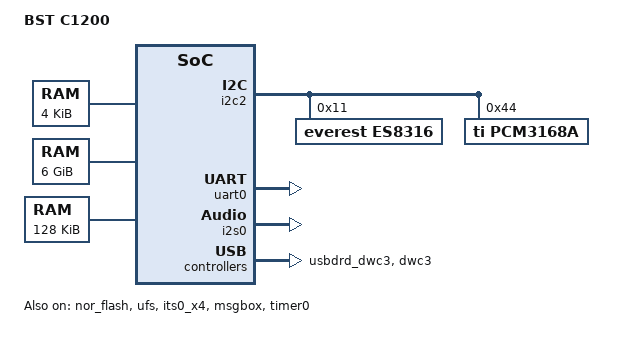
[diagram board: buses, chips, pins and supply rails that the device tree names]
// SPDX-License-Identifier: GPL-2.0+
/dts-v1/;
#include "bstc1200.dtsi"

/ {
	compatible = "bst,c1200";
	model = "BST C1200";

	chosen {
		bootargs = "earlycon=uart8250,mmio32,0x20007000 console=ttyS0,115200n8 rdinit=/sbin/init root=/dev/ram rw init=/linuxrc rodata=n";
		stdout-path = "uart0";
	};

	/* This is used to push the total usable DDR to Normal Zone
	 * DON NOT USE IT !!!
	 */
	memory@1000000 {
	device_type = "memory";
	reg = <0x0 0x1000000 0x0 0x1000>;
	};

	memory@c00000000 {
	device_type = "memory";
	reg = <0xc 0x40000000 0x1 0x80000000>;
	};

	memory@800000000 {
	device_type = "memory";
	reg = <0x8 0x00000000 0x0 0x20000>;
	};

	reserved-memory {
		#address-cells = <2>;
		#size-cells = <2>;
		ranges;

		bst_ufs_reserved: bst_ufs@800000000 {
			compatible = "shared-dma-pool";
			reg = <0x8 0x000000 0x0 0x20000>;
			no-map;
		};
		scmi_buf_reserved: scmi_buf@800152000 {
			compatible = "shared-dma-pool";
			reg = <0x8 0x152000 0x0 0x1000>;
			no-map;
		};

		reserved_for_normal_zone: reserved@1000000 {
			reg = <0x0 0x1000000 0x0 0x1000>;
			no-map;
		};


		bst_nor_flash_code_reserved: bst_nor_flash@800140000 {
			compatible = "shared-dma-pool";
			reg = <0x8 0x140000 0x0 0x10000>;
			no-map;
		};
		bst_ipc_reserved: bst_ipc@800300000 {
			compatible = "shared-dma-pool";
			reg = <0x8 0x300000 0x0 0x400000>;
			no-map;
		};
	};

/****************************************************************************************/
/*	c0_lockstep/c1_split	1 + 5: c0 0x0 + c0 0x100 \ c1 0x0 ~ 0x300
 *	c0_lockstep/c1_lockstep	1 + 3: c0 0x0 + c0 0x100 \ c1 0x0 ~ 0x100
 *	split			2 + 6: c0 0x0 ~ 0x100 + c0 0x200 ~ 0x300 \ c1 0x0 ~ 0x300
 *	split			4 + 4: c0 0x0 ~ 0x300 + c1 0x0 ~ 0x300
 */
/****************************************************************************************/
	cpus {
		#address-cells = <1>;
		#size-cells = <0>;

		cpu_l0: cpu@0 {
			compatible = "arm,cortex-a78", "arm,armv8";
			device_type = "cpu";
			enable-method = "psci";
			next-level-cache = <&l2_0>;
			reg = <0x0>;
			freq-domain = <&cpufreq 0>;

			i-cache-size = <0x10000>;
			i-cache-line-size = <64>;
			i-cache-sets = <256>;
			d-cache-size = <0x10000>;
			d-cache-line-size = <64>;
			d-cache-sets = <256>;

			l2_0: l2-cache {
				compatible = "cache";
				cache-level = <2>;
				next-level-cache = <&l3_0>;
				cache-size = <0x80000>;
				cache-line-size = <64>;
				cache-sets = <1024>;
			};
		};

		cpu_l1: cpu@1 {
			compatible = "arm,cortex-a78", "arm,armv8";
			device_type = "cpu";
			enable-method = "psci";
			next-level-cache = <&l2_1>;
			reg = <0x100>;
			freq-domain = <&cpufreq 0>;

			i-cache-size = <0x10000>;
			i-cache-line-size = <64>;
			i-cache-sets = <256>;
			d-cache-size = <0x10000>;
			d-cache-line-size = <64>;
			d-cache-sets = <256>;

			l2_1: l2-cache {
				compatible = "cache";
				cache-level = <2>;
				next-level-cache = <&l3_0>;
				cache-size = <0x80000>;
				cache-line-size = <64>;
				cache-sets = <1024>;
			};
		};

		cpu_l2: cpu@2 {
			compatible = "arm,cortex-a78", "arm,armv8";
			device_type = "cpu";
			enable-method = "psci";
			next-level-cache = <&l2_2>;
			reg = <0x200>;
			freq-domain = <&cpufreq 0>;

			i-cache-size = <0x10000>;
			i-cache-line-size = <64>;
			i-cache-sets = <256>;
			d-cache-size = <0x10000>;
			d-cache-line-size = <64>;
			d-cache-sets = <256>;

			l2_2: l2-cache {
				compatible = "cache";
				cache-level = <2>;
				next-level-cache = <&l3_0>;
				cache-size = <0x80000>;
				cache-line-size = <64>;
				cache-sets = <1024>;
			};
		};

		cpu_l3: cpu@3 {
			compatible = "arm,cortex-a78", "arm,armv8";
			device_type = "cpu";
			enable-method = "psci";
			next-level-cache = <&l2_3>;
			reg = <0x300>;
			freq-domain = <&cpufreq 0>;

			i-cache-size = <0x10000>;
			i-cache-line-size = <64>;
			i-cache-sets = <256>;
			d-cache-size = <0x10000>;
			d-cache-line-size = <64>;
			d-cache-sets = <256>;

			l2_3: l2-cache {
				compatible = "cache";
				cache-level = <2>;
				next-level-cache = <&l3_0>;
				cache-size = <0x80000>;
				cache-line-size = <64>;
				cache-sets = <1024>;
			};
		};

		l3_0: l3-cache@0 {
			compatible = "cache";
			cache-level = <3>;
			cache-size = <0x200000>;
			cache-line-size = <64>;
			cache-sets = <2048>;
		};
	};

	psci {
		compatible	= "arm,psci-1.0";
		method		= "smc";
		cpu_on		= <0xC4000003>;
		cpu_off		= <0x84000002>;
		cpu_suspend	= <0xC4000001>;
	};
};

&firmware_scmi {

	shmem = <&scmi_buf_reserved>;
	reg = <0x0 0x20011000 0 0x14>;


	status = "okay";
};
&i2c0 {
	status = "disable";
};
&i2c1 {
	status = "disable";
};
&i2c2 {
	status = "okay";
	es8316: es8316@11 {
		status = "okay";
		compatible = "everest,es8316";
		reg = <0x11>;
		#sound-dai-cells = <0>;
		es8316,analog-input-mux = <1>;
	};

	pcm3168a: pcm3168a-codec@44 {
		status = "okay";
		compatible = "ti,pcm3168a";
		reg = <0x44>;
		#sound-dai-cells = <0>;
	};
};
&i2c3 {
	status = "disable";
};
&i2c4 {
	status = "disable";
};
&i2c5 {
	status = "disable";
};
&i2c6 {
	status = "disable";
};
&i2c7 {
	status = "disable";
};
&i2cq0 {
	status = "disable";
};
&i2cq1 {
	status = "disable";
};
&i2cq2 {
	status = "disable";
};

&uart0 {
	status = "okay";
};
&uart1 {
	status = "disable";
};
&uart2 {
	status = "disable";
};
&uart3 {
	status = "disable";
};

&spi0 {
	status = "disable";
};
&spi1 {
	status = "disable";
};
&spi2 {
	status = "disable";
};
&spi3 {
	status = "disable";
};

&i2s0 {
	status = "okay";
};
&i2s1 {
	status = "disable";
};
&i2s2 {
	status = "disable";
};
&i2s3 {
	status = "disable";
};

&watchdog0 {
	status = "disable";
};
&watchdog1 {
	status = "disable";
};
&watchdog2 {
	status = "disable";
};
&watchdog3 {
	status = "disable";
};
&watchdog_soc0 {
	status = "disable";
};
&watchdog_soc1 {
	status = "disable";
};
&watchdog_soc2 {
	status = "disable";
};
&watchdog_soc3 {
	status = "disable";
};

&watchdog_soc4 {
	status = "disable";
};
&watchdog_soc5 {
	status = "disable";
};
&watchdog_soc6 {
	status = "disable";
};
&watchdog_soc7 {
	status = "disable";
};
&watchdog_db0 {
	status = "disable";
};
&watchdog_db1 {
	status = "disable";
};
&watchdog_db2 {
	status = "disable";
};
&watchdog_db3 {
	status = "disable";
};

&lsp0_pwm0 {
	status = "disable";
};
&lsp1_pwm0 {
	status = "disable";
};

&gpio0 {
	status = "disable";
};
&gpio1 {
	status = "disable";
};
&gpio2 {
	status = "disable";
};
&gpio3 {
	status = "disable";
};
&gpio4 {
	status = "disable";
};
&gpio5 {
	status = "disable";
};
&gpio6 {
	status = "disable";
};
&gpio7 {
	status = "disable";
};
&gpiokeys {
	status = "disable";
};

&gdma0 {
	status = "okay";
};

&swdma0 {
	status = "disable";
};

&mmu600_soc{
	status = "okay";
};


&usbdwc3 {
		iommus = <&mmu600_soc 1>;
};

&usbdrd_dwc3 {
	status = "okay";
};

&usbdwc2 {
		iommus = <&mmu600_soc 2>;
};
&dwc3 {
	status = "okay";
};

&mmc0 {
	status = "disable";
};
&mmc1 {
	status = "disable";
};

&nor_flash {
	memory-region = <&bst_nor_flash_code_reserved>;
	status = "okay";
};

&mmu600_codec {
	status = "disable";
};
&mmu600_soc {
	status = "disable";
};

&ufs {
	reg = <0x0 0x23005f00 0 0x100>,
		  <0x0 0x20011000 0 0x1000>;
    interrupts = <GIC_SPI 184 IRQ_TYPE_LEVEL_HIGH
					GIC_SPI 218 IRQ_TYPE_LEVEL_HIGH>; 
	ufs-timer = <0x0>;
	status = "okay";
};

&lvds_conn {
	status = "disable";
};

&pinctrl {
	status = "disable";
};

&clkc {
	status = "disable";
};

&xgmac0 {
	status = "disable";
};

&gic600 {
	status = "okay";
	};

&its0_x4 {
	status = "okay";
};

&ipc {
	status = "okay";
	memory-region = <&bst_ipc_reserved>;
};

&mbox {
	status = "okay";
	ipc-cpus = <0>;
	memory-region = <&bst_ipc_reserved>;
};


&msgbox {
	status = "okay";
	spi-irq-num = <4>;
	filter-num = <8>;
	// id = <0x0>;
	// end0 and end1 spi irq
	interrupts =    <
			GIC_PPI 2 (GIC_CPU_MASK_SIMPLE(8) | IRQ_TYPE_LEVEL_LOW)
			GIC_PPI 3 (GIC_CPU_MASK_SIMPLE(8) | IRQ_TYPE_LEVEL_LOW)
			GIC_PPI 4 (GIC_CPU_MASK_SIMPLE(8) | IRQ_TYPE_LEVEL_LOW)
			GIC_PPI 15 (GIC_CPU_MASK_SIMPLE(8) | IRQ_TYPE_LEVEL_LOW)
			GIC_SPI 544 (IRQ_TYPE_LEVEL_HIGH)
			GIC_SPI 545 (IRQ_TYPE_LEVEL_HIGH)
			GIC_SPI 546 (IRQ_TYPE_LEVEL_HIGH)
			GIC_SPI 547 (IRQ_TYPE_LEVEL_HIGH)
			GIC_SPI 548 (IRQ_TYPE_LEVEL_HIGH)
			GIC_SPI 549 (IRQ_TYPE_LEVEL_HIGH)
			GIC_SPI 550 (IRQ_TYPE_LEVEL_HIGH)
			GIC_SPI 551 (IRQ_TYPE_LEVEL_HIGH)
			GIC_SPI 552 (IRQ_TYPE_LEVEL_HIGH)
			GIC_SPI 553 (IRQ_TYPE_LEVEL_HIGH)
			GIC_SPI 554 (IRQ_TYPE_LEVEL_HIGH)
			GIC_SPI 555 (IRQ_TYPE_LEVEL_HIGH)
			GIC_SPI 556 (IRQ_TYPE_LEVEL_HIGH)
			GIC_SPI 557 (IRQ_TYPE_LEVEL_HIGH)
			GIC_SPI 558 (IRQ_TYPE_LEVEL_HIGH)
			GIC_SPI 559 (IRQ_TYPE_LEVEL_HIGH)
			>;
	#mbox-cells = <0x1>;
};

&arm_pmu {
	status = "disable";
};

&timer0 {
    interrupts = <GIC_SPI 218 IRQ_TYPE_LEVEL_HIGH>;
       timer-chan = <0x0>;
    status = "okay";
};

&timer1 {
       status = "disable";
};

